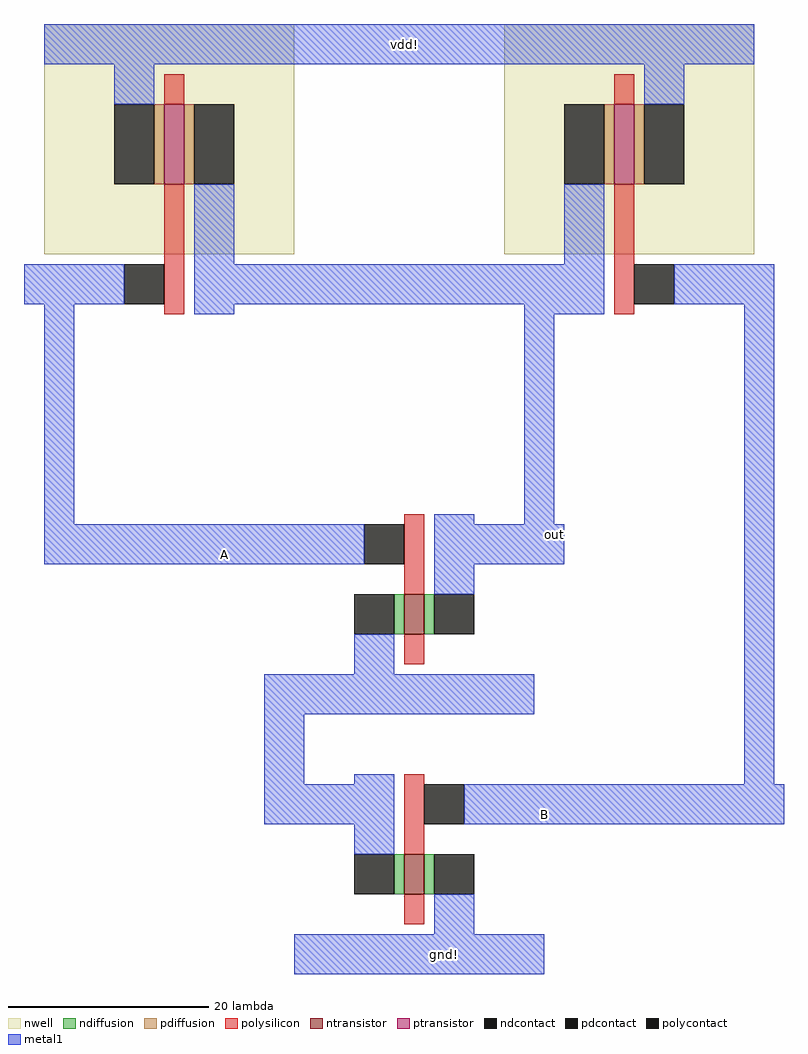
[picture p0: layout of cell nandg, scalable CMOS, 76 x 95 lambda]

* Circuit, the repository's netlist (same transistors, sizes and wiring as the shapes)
* SPICE3 file created from nandg.ext - technology: scmos

.option scale=0.09u

M1000 m1_30_1# A m1_26_n48# Gnd nfet w=4 l=2
+  ad=20 pd=18 as=40 ps=36
M1001 m1_26_n48# m1_54_n51# nmos_1/a_n1_n17# Gnd nfet w=4 l=2
+  ad=0 pd=0 as=20 ps=18
M1002 m1_30_1# A vdd pmos_0/w_n8_n5# pfet w=8 l=2
+  ad=80 pd=52 as=80 ps=52
M1003 m1_30_1# m1_54_n51# vdd pmos_1/w_n8_n5# pfet w=8 l=2
+  ad=0 pd=0 as=0 ps=0

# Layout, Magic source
magic
tech scmos
<< metal1 >>
rect 26 25 49 29
rect 2 -21 5 5
rect 30 1 46 5
rect 50 1 53 5
rect 50 0 56 1
rect 2 -25 25 -21
rect 50 -25 53 0
rect 24 -51 28 -36
rect 72 -47 75 5
rect 53 -51 76 -47
rect 39 -66 45 -62
use nmos  nmos_1
transform -1 0 44 0 1 -41
box -10 -25 20 -5
use nmos  nmos_0
transform 1 0 34 0 1 -15
box -10 -25 20 -5
use pmos  pmos_1
transform -1 0 65 0 1 11
box -10 -11 20 18
use pmos  pmos_0
transform 1 0 10 0 1 11
box -10 -11 20 18
<< labels >>
rlabel space 52 -50 52 -50 1 B
rlabel metal1 20 -24 20 -24 1 A
rlabel metal1 53 -22 53 -22 1 out
rlabel metal1 38 27 38 27 5 vdd!
rlabel metal1 42 -64 42 -64 1 gnd!
<< end >>

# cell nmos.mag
magic
tech scmos
<< ntransistor >>
rect 4 -17 6 -13
<< ndiffusion >>
rect 3 -17 4 -13
rect 6 -17 7 -13
<< ndcontact >>
rect -1 -17 3 -13
rect 7 -17 11 -13
<< polysilicon >>
rect 4 -13 6 -5
rect 4 -20 6 -17
<< polycontact >>
rect 0 -10 4 -6
<< metal1 >>
rect 7 -6 11 -5
rect -10 -10 0 -6
rect 7 -10 20 -6
rect 7 -13 11 -10
rect -1 -21 3 -17
rect -8 -25 17 -21
<< end >>

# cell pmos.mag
magic
tech scmos
<< nwell >>
rect -8 -5 17 18
<< ptransistor >>
rect 4 2 6 10
<< pdiffusion >>
rect 3 2 4 10
rect 6 2 7 10
<< pdcontact >>
rect -1 2 3 10
rect 7 2 11 10
<< polysilicon >>
rect 4 10 6 13
rect 4 -11 6 2
<< polycontact >>
rect 0 -10 4 -6
<< metal1 >>
rect -8 14 17 18
rect -1 10 3 14
rect 7 -6 11 2
rect -10 -10 0 -6
rect 7 -10 20 -6
rect 7 -11 11 -10
<< end >>
